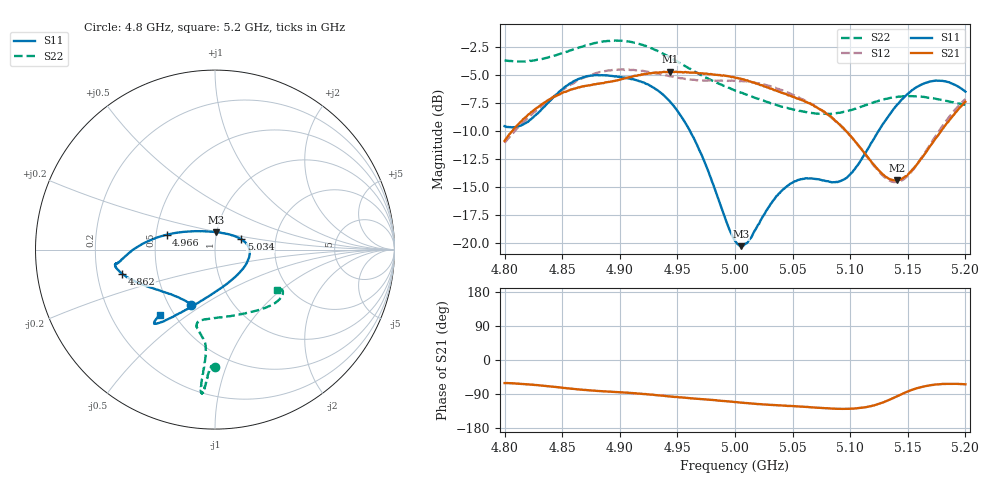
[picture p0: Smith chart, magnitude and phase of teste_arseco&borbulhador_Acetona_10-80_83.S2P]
! Network Analyzer HP8722D
! Hewlett-Packard
! Data name: Linha & Wilkinson
! Saver's name: Rodrigo Anjos
! Comments: Teste da utilização de aquisição
! continua pelo VNA HP8722D
! Time and date: 17/4/2025 15:03
!  Frequency  S11  S21  S12  S22
# HZ  S  MA R 50
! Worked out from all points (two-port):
!   401 points, 4.8 GHz to 5.2 GHz, reference 50 ohm
!   highest |S21| = -4.67 dB at 4.944 GHz (marker M1); lowest = -14.4 dB at 5.141 GHz (marker M2)
!   |S21| within 3 dB of the highest: 4.831 GHz to 5.068 GHz (236.8 MHz wide, 4.78 % of centre); 5.197114 GHz to end of sweep
!   lowest |S11| = -20.3 dB at 5.005 GHz (marker M3), VSWR 1.21, Z = 49.9 + j9.74 ohm
!   |S11| at or under -10 dB: 4.961 GHz to 5.124 GHz (163.3 MHz wide, 3.24 % of centre)
!   |S22| runs from -8.5 to -1.9 dB; largest |S21 - S12| = 0.88
!   S11 on the Smith chart (normalised r, x): 4.8 GHz: 0.65, -0.45; 4.862 GHz: 0.31, -0.12; 4.966 GHz: 0.57, +0.10; 5.034 GHz: 1.33, +0.16; 5.2 GHz: 0.42, -0.39
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4.8e9  0.3334 -113.2  0.2868 -60.8  0.2808 -174.9  0.6566 -90.0
4.819e9  0.3463 -133.1  0.3682 -64.0  0.3578 -173.5  0.6502 -91.5
4.841e9  0.4408 -153.3  0.4457 -70.5  0.4469 -174.0  0.6838 -92.9
4.862e9  0.5353 -165.5  0.493 -76.8  0.5289 -176.7  0.7413 -93.8
4.867e9  0.5476 -167.5  0.5003 -78.4  0.5441 -177.6  0.7554 -93.9
4.9e9  0.5534 -172.0  0.5375 -85.1  0.5964 175.7  0.8027 -95.3
4.934e9  0.4771 -178.0  0.5782 -93.4  0.5724 172.0  0.7165 -95.8
4.944e9  0.4269 177.5  0.5844 -96.3  0.5564 172.0  0.6748 -95.4
4.966e9  0.2818 163.0  0.5774 -102.0  0.5352 173.8  0.5811 -95.0
5e9  0.1026 102.8  0.5491 -111.1  0.5332 176.3  0.4812 -99.2
5.005e9  0.09706 85.3  0.5428 -112.4  0.5301 176.2  0.4706 -100.4
5.013e9  0.1047 59.7  0.5284 -114.5  0.5237 176.0  0.4556 -102.0
5.034e9  0.157 21.5  0.4831 -119.1  0.4959 174.7  0.4177 -103.6
5.05e9  0.1865 5.2  0.4512 -121.8  0.4606 174.3  0.3964 -99.6
5.067e9  0.1948 -13.0  0.4157 -125.0  0.4181 173.7  0.3814 -90.9
5.086e9  0.1875 -43.0  0.3573 -128.4  0.3563 173.7  0.3805 -76.4
5.097e9  0.196 -65.6  0.3148 -128.8  0.3137 174.6  0.3889 -67.3
5.134e9  0.3746 -116.1  0.1937 -105.0  0.1905 -157.8  0.4449 -42.9
5.141e9  0.4172 -120.1  0.1908 -95.0  0.1879 -146.6  0.4509 -39.9
5.152e9  0.4742 -124.5  0.2078 -80.6  0.2051 -129.8  0.4543 -36.0
5.171e9  0.5296 -128.8  0.2786 -66.1  0.2842 -112.0  0.4443 -31.6
5.2e9  0.4756 -130.3  0.4286 -64.2  0.4411 -106.4  0.4148 -33.3
